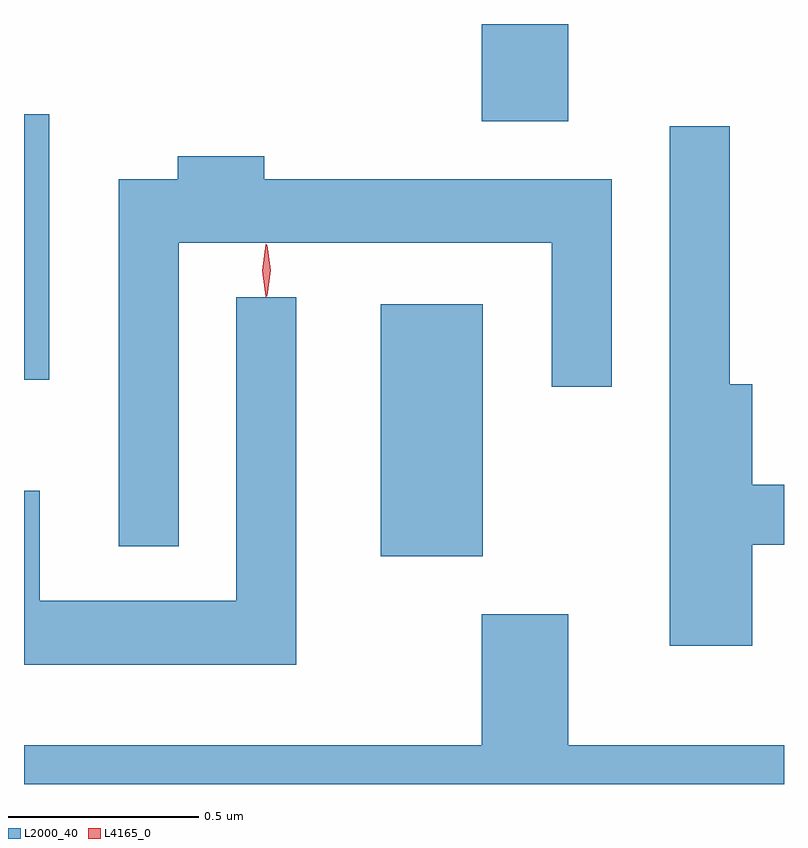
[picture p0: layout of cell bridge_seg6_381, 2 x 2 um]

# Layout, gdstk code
import gdstk
lib = gdstk.Library(unit=1e-6, precision=1e-09)
def R(c, l, rs):  # rectangles x0, y0, x1, y1
    for r in rs: c.add(gdstk.rectangle(r[:2], r[2:], *l))
def P(c, l, *ps):  # polygons
    for p in ps: c.add(gdstk.Polygon(p, *l))
L2000_40 = (2000, 40)
L4165_0 = (4165, 0)

bridge_seg6_381 = lib.new_cell('bridge_seg6_381')
R(bridge_seg6_381, L2000_40, [(1306.386,1550.801,1306.654,1551.464), (1305.447,1551.266,1305.514,1551.964), (1306.651,1551.946,1306.879,1552.202)])
P(bridge_seg6_381, L2000_40, [(1307.364,1550.831),(1307.447,1550.831),(1307.447,1550.989),(1307.364,1550.989),(1307.364,1551.254),(1307.304,1551.254),(1307.304,1551.933),(1307.146,1551.933),(1307.146,1550.566),(1307.364,1550.566)],
  [(1305.854,1551.626),(1306.836,1551.626),(1306.836,1551.248),(1306.994,1551.248),(1306.994,1551.794),(1306.079,1551.794),(1306.079,1551.854),(1305.851,1551.854),(1305.851,1551.794),(1305.696,1551.794),(1305.696,1550.828),(1305.854,1550.828)],
  [(1306.164,1551.483),(1306.006,1551.483),(1306.006,1550.684),(1305.489,1550.684),(1305.489,1550.974),(1305.447,1550.974),(1305.447,1550.516),(1306.164,1550.516)],
  [(1307.447,1550.304),(1306.879,1550.304),(1306.879,1550.649),(1306.651,1550.649),(1306.651,1550.304),(1305.447,1550.304),(1305.447,1550.202),(1307.447,1550.202)])
P(bridge_seg6_381, L4165_0, [(1306.083,1551.484),(1306.074,1551.553),(1306.083,1551.623),(1306.084,1551.623),(1306.084,1551.623),(1306.094,1551.553),(1306.084,1551.484),(1306.084,1551.484)],
  [(1306.086,1551.487),(1306.086,1551.487),(1306.076,1551.554),(1306.086,1551.62),(1306.086,1551.621),(1306.087,1551.62),(1306.096,1551.554),(1306.087,1551.487)])

lib.write_gds('bridge_seg6_381.gds')
